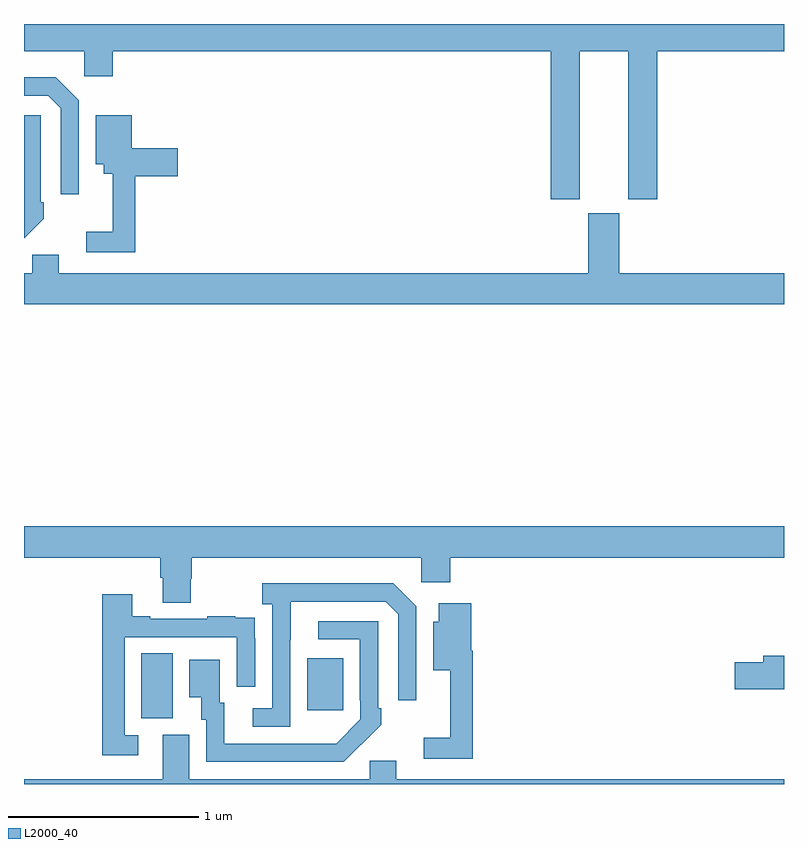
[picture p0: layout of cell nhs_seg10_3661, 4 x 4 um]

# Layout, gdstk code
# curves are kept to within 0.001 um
import gdstk
lib = gdstk.Library(unit=1e-6, precision=1e-09)
def R(c, l, rs):  # rectangles x0, y0, x1, y1
    for r in rs: c.add(gdstk.rectangle(r[:2], r[2:], *l))
def P(c, l, *ps):  # polygons
    for p in ps: c.add(gdstk.Polygon(p, *l))
L2000_40 = (2000, 40)

nhs_seg10_3661 = lib.new_cell('nhs_seg10_3661')
R(nhs_seg10_3661, L2000_40, [(311.618,1256.845,311.782,1257.188), (312.491,1256.889,312.679,1257.163)])
P(nhs_seg10_3661, L2000_40, [(313.924,1260.356),(314.18,1260.356),(314.18,1259.577),(314.333,1259.577),(314.333,1260.356),(315,1260.356),(315,1260.5),(311,1260.5),(311,1260.356),(311.316,1260.356),(311.316,1260.225),(311.468,1260.225),(311.468,1260.356),(313.772,1260.356),(313.772,1259.577),(313.924,1259.577)],
  [(311.289,1260.099),(311.168,1260.22),(311,1260.22),(311,1260.123),(311.127,1260.123),(311.193,1260.057),(311.193,1259.604),(311.289,1259.604)],
  [(311.103,1259.475),(311.103,1259.563),(311.088,1259.563),(311.088,1260.021),(311,1260.021),(311,1259.372)],
  [(311.585,1259.699),(311.809,1259.699),(311.809,1259.846),(311.566,1259.846),(311.566,1260.019),(311.378,1260.019),(311.378,1259.762),(311.42,1259.762),(311.42,1259.711),(311.468,1259.711),(311.468,1259.407),(311.328,1259.407),(311.328,1259.298),(311.585,1259.298)],
  [(315,1259.188),(314.134,1259.188),(314.134,1259.505),(313.97,1259.505),(313.97,1259.188),(311.182,1259.188),(311.182,1259.286),(311.043,1259.286),(311.043,1259.188),(311,1259.188),(311,1259.024),(315,1259.024)],
  [(311.877,1257.579),(311.882,1257.579),(311.882,1257.692),(313.092,1257.692),(313.092,1257.561),(313.244,1257.561),(313.244,1257.692),(315,1257.692),(315,1257.856),(311,1257.856),(311,1257.692),(311.717,1257.692),(311.717,1257.586),(311.729,1257.586),(311.729,1257.454),(311.877,1257.454)],
  [(312.402,1257.259),(312.403,1257.459),(312.903,1257.459),(312.969,1257.393),(312.969,1256.94),(313.065,1256.94),(313.065,1257.435),(312.944,1257.556),(312.255,1257.556),(312.255,1257.446),(312.306,1257.446),(312.306,1256.898),(312.204,1256.898),(312.204,1256.802),(312.402,1256.802)],
  [(311.602,1256.757),(311.529,1256.757),(311.529,1257.273),(312.12,1257.273),(312.12,1257.012),(312.216,1257.012),(312.216,1257.266),(312.215,1257.266),(312.215,1257.375),(312.113,1257.375),(312.113,1257.382),(311.965,1257.382),(311.965,1257.369),(311.665,1257.369),(311.665,1257.382),(311.569,1257.382),(311.569,1257.499),(311.413,1257.499),(311.413,1256.652),(311.602,1256.652)],
  [(313.361,1257.202),(313.355,1257.202),(313.355,1257.451),(313.184,1257.451),(313.184,1257.355),(313.154,1257.355),(313.154,1257.098),(313.244,1257.098),(313.244,1256.743),(313.104,1256.743),(313.104,1256.634),(313.361,1256.634)],
  [(312.773,1256.707),(312.774,1256.706),(312.879,1256.811),(312.879,1256.899),(312.864,1256.899),(312.864,1257.357),(312.549,1257.357),(312.549,1257.261),(312.768,1257.261),(312.768,1256.941),(312.771,1256.941),(312.771,1256.841),(312.643,1256.713),(312.055,1256.712),(312.055,1256.928),(312.031,1256.928),(312.031,1257.154),(311.87,1257.154),(311.87,1256.957),(311.933,1256.957),(311.933,1256.838),(311.958,1256.838),(311.958,1256.616),(312.682,1256.616)],
  [(315,1257.176),(314.891,1257.176),(314.891,1257.14),(314.742,1257.14),(314.742,1256.998),(315,1256.998)],
  [(315,1256.524),(312.958,1256.524),(312.958,1256.622),(312.819,1256.622),(312.819,1256.524),(311.869,1256.524),(311.869,1256.76),(311.729,1256.76),(311.729,1256.524),(311,1256.524),(311,1256.5),(315,1256.5)])

lib.write_gds('nhs_seg10_3661.gds')
